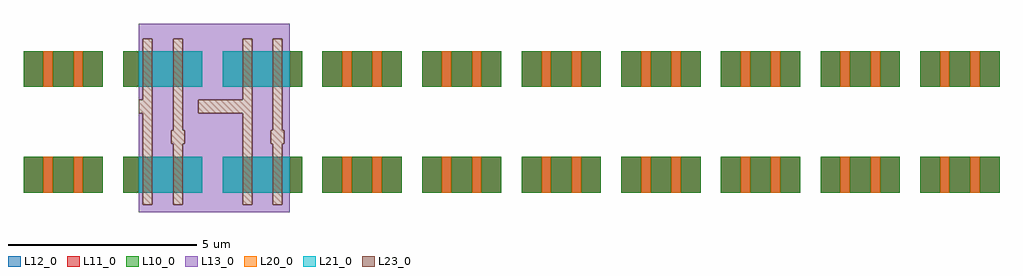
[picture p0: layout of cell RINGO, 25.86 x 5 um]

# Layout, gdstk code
import gdstk
lib = gdstk.Library(unit=1e-6, precision=1e-09)
def R(c, l, rs):  # rectangles x0, y0, x1, y1
    for r in rs: c.add(gdstk.rectangle(r[:2], r[2:], *l))
def A(c, l, x, y, w, h, nx, ny, dx, dy):  # array of equal rectangles
    R(c, l, [(x+i*dx, y+j*dy, x+i*dx+w, y+j*dy+h) for i in range(nx) for j in range(ny)])
def P(c, l, *ps):  # polygons
    for p in ps: c.add(gdstk.Polygon(p, *l))
L10_0 = (10, 0)
L11_0 = (11, 0)
L12_0 = (12, 0)
L13_0 = (13, 0)
L20_0 = (20, 0)
L21_0 = (21, 0)
L23_0 = (23, 0)

ringo = lib.new_cell('RINGO')
A(ringo, L10_0, -0.275, -0.475, 0.55, 0.95, 10, 2, 2.64, 2.8)
R(ringo, L10_0, [(-1.05,-0.475,-0.525,0.475), (0.525,-0.475,1.05,0.475), (1.59,-0.475,2.115,0.475), (3.165,-0.475,3.69,0.475), (4.23,-0.475,4.755,0.475), (5.805,-0.475,6.33,0.475), (6.87,-0.475,7.395,0.475), (8.445,-0.475,8.97,0.475), (9.51,-0.475,10.035,0.475), (11.085,-0.475,11.61,0.475), (12.15,-0.475,12.675,0.475), (13.725,-0.475,14.25,0.475), (14.79,-0.475,15.315,0.475), (16.365,-0.475,16.89,0.475), (17.43,-0.475,17.955,0.475), (19.005,-0.475,19.53,0.475), (20.07,-0.475,20.595,0.475), (21.645,-0.475,22.17,0.475), (22.71,-0.475,23.235,0.475), (24.285,-0.475,24.81,0.475), (-1.05,2.325,-0.525,3.275), (0.525,2.325,1.05,3.275), (1.59,2.325,2.115,3.275), (3.165,2.325,3.69,3.275), (4.23,2.325,4.755,3.275), (5.805,2.325,6.33,3.275), (6.87,2.325,7.395,3.275), (8.445,2.325,8.97,3.275), (9.51,2.325,10.035,3.275), (11.085,2.325,11.61,3.275), (12.15,2.325,12.675,3.275), (13.725,2.325,14.25,3.275), (14.79,2.325,15.315,3.275), (16.365,2.325,16.89,3.275), (17.43,2.325,17.955,3.275), (19.005,2.325,19.53,3.275), (20.07,2.325,20.595,3.275), (21.645,2.325,22.17,3.275), (22.71,2.325,23.235,3.275), (24.285,2.325,24.81,3.275)])
A(ringo, L11_0, 6.87, -0.475, 2.1, 0.95, 7, 2, 2.64, 2.8)
R(ringo, L11_0, [(-1.05,-0.475,1.05,0.475), (1.59,-0.475,2,0.475), (6,-0.475,6.33,0.475), (-1.05,2.325,1.05,3.275), (1.59,2.325,2,3.275), (6,2.325,6.33,3.275)])
R(ringo, L12_0, [(-1.05,-0.475,0.25,0.475), (-0.25,-0.475,1.05,0.475), (1.59,-0.475,2.89,0.475), (2.39,-0.475,3.69,0.475), (4.23,-0.475,5.53,0.475), (5.03,-0.475,6.33,0.475), (6.87,-0.475,8.17,0.475), (7.67,-0.475,8.97,0.475), (9.51,-0.475,10.81,0.475), (10.31,-0.475,11.61,0.475), (12.15,-0.475,13.45,0.475), (12.95,-0.475,14.25,0.475), (14.79,-0.475,16.09,0.475), (15.59,-0.475,16.89,0.475), (17.43,-0.475,18.73,0.475), (18.23,-0.475,19.53,0.475), (20.07,-0.475,21.37,0.475), (20.87,-0.475,22.17,0.475), (22.71,-0.475,24.01,0.475), (23.51,-0.475,24.81,0.475), (-1.05,2.325,0.25,3.275), (-0.25,2.325,1.05,3.275), (1.59,2.325,2.89,3.275), (2.39,2.325,3.69,3.275), (4.23,2.325,5.53,3.275), (5.03,2.325,6.33,3.275), (6.87,2.325,8.17,3.275), (7.67,2.325,8.97,3.275), (9.51,2.325,10.81,3.275), (10.31,2.325,11.61,3.275), (12.15,2.325,13.45,3.275), (12.95,2.325,14.25,3.275), (14.79,2.325,16.09,3.275), (15.59,2.325,16.89,3.275), (17.43,2.325,18.73,3.275), (18.23,2.325,19.53,3.275), (20.07,2.325,21.37,3.275), (20.87,2.325,22.17,3.275), (22.71,2.325,24.01,3.275), (23.51,2.325,24.81,3.275)])
P(ringo, L13_0, [(2,-1),(2,1.62),(2.115,1.62),(2.115,-0.8),(2.365,-0.8),(2.365,3.6),(2.915,3.6),(2.915,1.18),(2.86,1.18),(2.86,0.82),(2.915,0.82),(2.915,-0.8),(3.165,-0.8),(3.165,0.82),(3.22,0.82),(3.22,1.18),(3.165,1.18),(3.165,3.6),(4.755,3.6),(4.755,1.98),(3.58,1.98),(3.58,1.62),(4.755,1.62),(4.755,-0.8),(5.005,-0.8),(5.005,3.6),(5.555,3.6),(5.555,1.18),(5.5,1.18),(5.5,0.82),(5.555,0.82),(5.555,-0.8),(5.805,-0.8),(5.805,0.82),(5.86,0.82),(5.86,1.18),(5.805,1.18),(5.805,3.6),(2.115,3.6),(2.115,1.98),(2,1.98),(2,4),(6,4),(6,-1)])
R(ringo, L20_0, [(-0.525,-0.475,-0.275,0.475), (0.275,-0.475,0.525,0.475), (2.115,-0.475,2.365,0.475), (2.915,-0.475,3.165,0.475), (4.755,-0.475,5.005,0.475), (5.555,-0.475,5.805,0.475), (7.395,-0.475,7.645,0.475), (8.195,-0.475,8.445,0.475), (10.035,-0.475,10.285,0.475), (10.835,-0.475,11.085,0.475), (12.675,-0.475,12.925,0.475), (13.475,-0.475,13.725,0.475), (15.315,-0.475,15.565,0.475), (16.115,-0.475,16.365,0.475), (17.955,-0.475,18.205,0.475), (18.755,-0.475,19.005,0.475), (20.595,-0.475,20.845,0.475), (21.395,-0.475,21.645,0.475), (23.235,-0.475,23.485,0.475), (24.035,-0.475,24.285,0.475), (-0.525,2.325,-0.275,3.275), (0.275,2.325,0.525,3.275), (2.115,2.325,2.365,3.275), (2.915,2.325,3.165,3.275), (4.755,2.325,5.005,3.275), (5.555,2.325,5.805,3.275), (7.395,2.325,7.645,3.275), (8.195,2.325,8.445,3.275), (10.035,2.325,10.285,3.275), (10.835,2.325,11.085,3.275), (12.675,2.325,12.925,3.275), (13.475,2.325,13.725,3.275), (15.315,2.325,15.565,3.275), (16.115,2.325,16.365,3.275), (17.955,2.325,18.205,3.275), (18.755,2.325,19.005,3.275), (20.595,2.325,20.845,3.275), (21.395,2.325,21.645,3.275), (23.235,2.325,23.485,3.275), (24.035,2.325,24.285,3.275)])
R(ringo, L21_0, [(2,-0.475,3.69,0.475), (4.23,-0.475,6,0.475), (2,2.325,3.69,3.275), (4.23,2.325,6,3.275)])
P(ringo, L23_0, [(2.115,-0.8),(2.115,1.62),(2,1.62),(2,1.98),(2.115,1.98),(2.115,3.6),(2.365,3.6),(2.365,-0.8)],
  [(2.915,-0.8),(2.915,0.82),(2.86,0.82),(2.86,1.18),(2.915,1.18),(2.915,3.6),(3.165,3.6),(3.165,1.18),(3.22,1.18),(3.22,0.82),(3.165,0.82),(3.165,-0.8)],
  [(4.755,-0.8),(4.755,1.62),(3.58,1.62),(3.58,1.98),(4.755,1.98),(4.755,3.6),(5.005,3.6),(5.005,-0.8)],
  [(5.555,-0.8),(5.555,0.82),(5.5,0.82),(5.5,1.18),(5.555,1.18),(5.555,3.6),(5.805,3.6),(5.805,1.18),(5.86,1.18),(5.86,0.82),(5.805,0.82),(5.805,-0.8)])

lib.write_gds('RINGO.gds')
